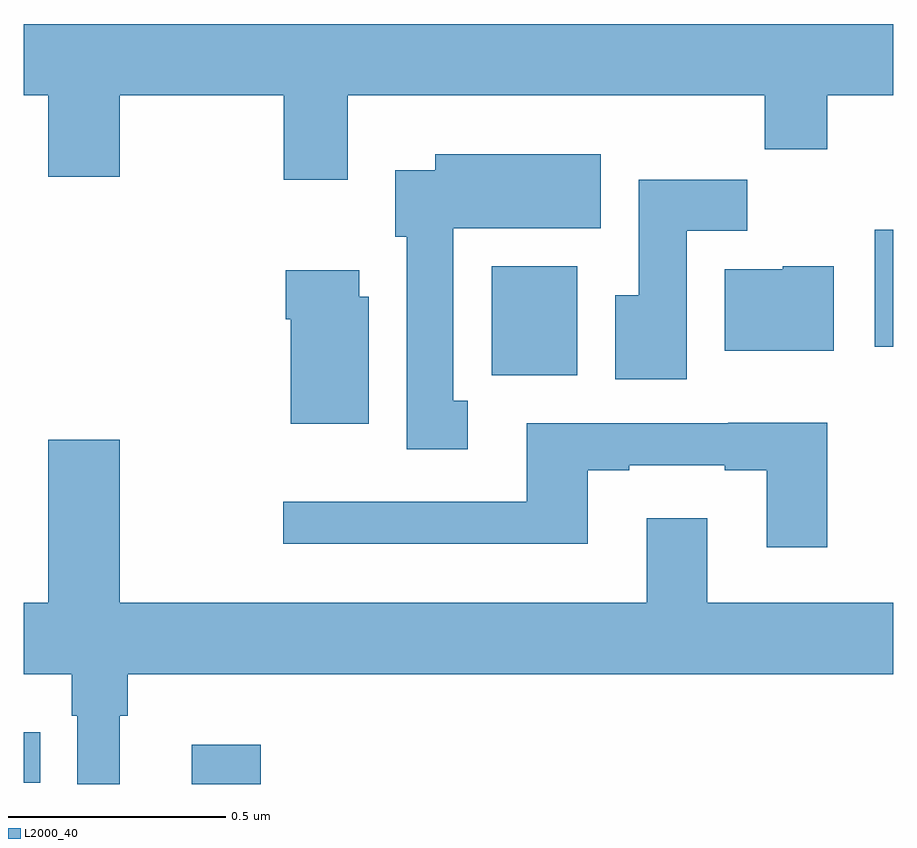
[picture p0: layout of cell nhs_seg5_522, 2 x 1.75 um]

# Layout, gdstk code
import gdstk
lib = gdstk.Library(unit=1e-6, precision=1e-09)
def R(c, l, rs):  # rectangles x0, y0, x1, y1
    for r in rs: c.add(gdstk.rectangle(r[:2], r[2:], *l))
def P(c, l, *ps):  # polygons
    for p in ps: c.add(gdstk.Polygon(p, *l))
L2000_40 = (2000, 40)

nhs_seg5_522 = lib.new_cell('nhs_seg5_522')
R(nhs_seg5_522, L2000_40, [(117.386,897.799,117.545,897.889), (117,897.802,117.038,897.918), (118.077,898.74,118.273,898.99), (118.958,898.805,119,899.074)])
P(nhs_seg5_522, L2000_40, [(117.745,899.384),(118.705,899.384),(118.705,899.26),(118.849,899.26),(118.849,899.384),(119,899.384),(119,899.548),(117,899.548),(117,899.384),(117.056,899.384),(117.056,899.196),(117.22,899.196),(117.22,899.384),(117.598,899.384),(117.598,899.19),(117.745,899.19)],
  [(118.021,898.681),(117.988,898.681),(117.988,899.078),(118.327,899.078),(118.327,899.248),(117.947,899.248),(117.947,899.212),(117.854,899.212),(117.854,899.058),(117.881,899.058),(117.881,898.569),(118.021,898.569)],
  [(118.525,899.072),(118.664,899.072),(118.664,899.19),(118.415,899.19),(118.415,898.924),(118.361,898.924),(118.361,898.731),(118.525,898.731)],
  [(118.864,898.99),(118.746,898.99),(118.746,898.984),(118.613,898.984),(118.613,898.796),(118.864,898.796)],
  [(117.793,898.92),(117.772,898.92),(117.772,898.981),(117.602,898.981),(117.602,898.868),(117.614,898.868),(117.614,898.628),(117.793,898.628)],
  [(118.849,898.63),(118.621,898.63),(118.621,898.629),(118.157,898.629),(118.157,898.449),(117.597,898.449),(117.597,898.352),(118.297,898.352),(118.297,898.521),(118.393,898.521),(118.393,898.533),(118.613,898.533),(118.613,898.521),(118.709,898.521),(118.709,898.344),(118.849,898.344)],
  [(118.433,898.411),(118.433,898.216),(117.22,898.216),(117.22,898.591),(117.056,898.591),(117.056,898.216),(117,898.216),(117,898.052),(117.11,898.052),(117.11,897.956),(117.123,897.956),(117.123,897.799),(117.22,897.799),(117.22,897.956),(117.239,897.956),(117.239,898.052),(119,898.052),(119,898.216),(118.573,898.216),(118.573,898.411)])

lib.write_gds('nhs_seg5_522.gds')
